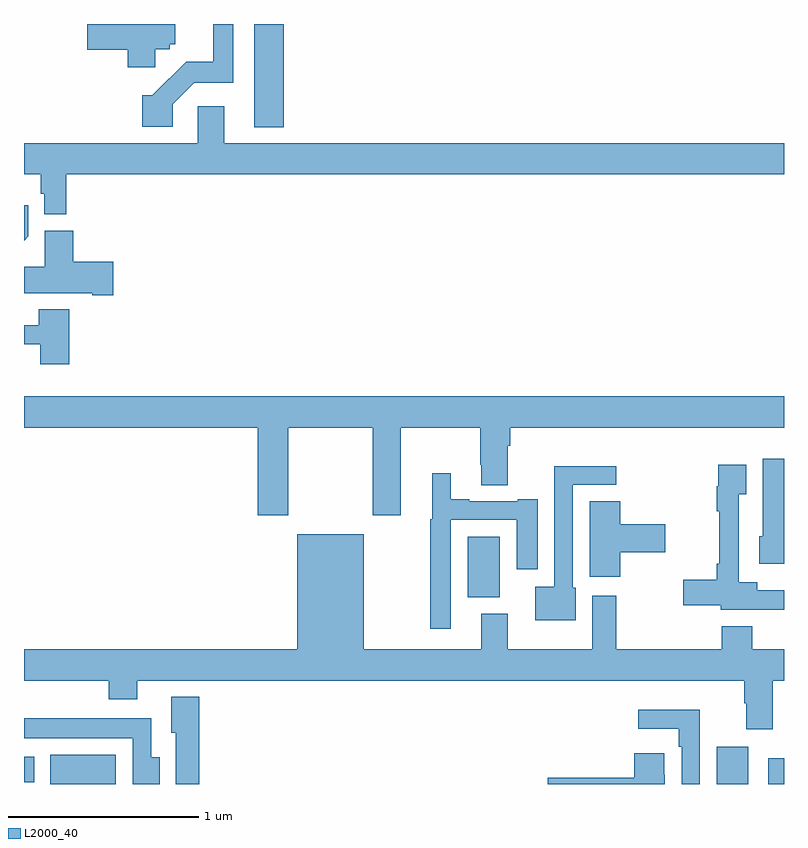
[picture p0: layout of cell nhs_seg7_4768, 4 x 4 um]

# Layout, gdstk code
import gdstk
lib = gdstk.Library(unit=1e-6, precision=1e-09)
def R(c, l, rs):  # rectangles x0, y0, x1, y1
    for r in rs: c.add(gdstk.rectangle(r[:2], r[2:], *l))
def P(c, l, *ps):  # polygons
    for p in ps: c.add(gdstk.Polygon(p, *l))
L2000_40 = (2000, 40)

nhs_seg7_4768 = lib.new_cell('nhs_seg7_4768')
R(nhs_seg7_4768, L2000_40, [(409.139,1072,409.483,1072.153), (412.646,1072,412.813,1072.195), (412.917,1072,413,1072.135), (409,1072.01,409.054,1072.144), (411.335,1072.982,411.505,1073.302), (410.213,1075.457,410.366,1076)])
P(nhs_seg7_4768, L2000_40, [(409.692,1075.866),(409.767,1075.866),(409.767,1075.893),(409.795,1075.893),(409.795,1076),(409.332,1076),(409.332,1075.865),(409.547,1075.865),(409.547,1075.772),(409.692,1075.772)],
  [(409.782,1075.578),(409.896,1075.692),(410.101,1075.692),(410.101,1076),(409.997,1076),(409.997,1075.802),(409.853,1075.802),(409.675,1075.624),(409.622,1075.624),(409.622,1075.458),(409.782,1075.458)],
  [(409.223,1075.208),(413,1075.208),(413,1075.372),(410.053,1075.372),(410.053,1075.567),(409.914,1075.567),(409.914,1075.372),(409,1075.372),(409,1075.208),(409.087,1075.208),(409.087,1075.107),(409.107,1075.107),(409.107,1074.998),(409.223,1074.998)],
  [(409.022,1074.882),(409.022,1075.045),(409,1075.045),(409,1074.86)],
  [(409.471,1074.75),(409.259,1074.75),(409.259,1074.913),(409.109,1074.913),(409.109,1074.722),(409,1074.722),(409,1074.584),(409.358,1074.584),(409.358,1074.572),(409.471,1074.572)],
  [(409.238,1074.499),(409.078,1074.499),(409.078,1074.415),(409,1074.415),(409,1074.315),(409.085,1074.315),(409.085,1074.21),(409.238,1074.21)],
  [(410.391,1073.876),(410.836,1073.876),(410.836,1073.415),(410.983,1073.415),(410.983,1073.876),(411.4,1073.876),(411.4,1073.68),(411.407,1073.68),(411.407,1073.572),(411.547,1073.572),(411.547,1073.78),(411.56,1073.78),(411.56,1073.876),(413,1073.876),(413,1074.04),(409,1074.04),(409,1073.876),(410.231,1073.876),(410.231,1073.415),(410.391,1073.415)],
  [(413,1073.713),(412.889,1073.713),(412.889,1073.304),(412.871,1073.304),(412.871,1073.16),(413,1073.16)],
  [(413,1073.02),(412.858,1073.02),(412.858,1073.062),(412.761,1073.062),(412.761,1073.524),(412.801,1073.524),(412.801,1073.68),(412.653,1073.68),(412.653,1073.567),(412.645,1073.567),(412.645,1073.435),(412.66,1073.435),(412.66,1073.158),(412.645,1073.158),(412.645,1073.075),(412.47,1073.075),(412.47,1072.94),(412.668,1072.94),(412.668,1072.917),(412.895,1072.917),(412.895,1072.916),(413,1072.916)],
  [(411.904,1073.034),(411.888,1073.034),(411.888,1073.574),(412.117,1073.574),(412.117,1073.672),(411.792,1073.672),(411.792,1073.038),(411.692,1073.038),(411.692,1072.862),(411.904,1072.862)],
  [(411.246,1073.391),(411.593,1073.391),(411.593,1073.13),(411.703,1073.13),(411.703,1073.5),(411.599,1073.5),(411.599,1073.487),(411.343,1073.487),(411.343,1073.5),(411.247,1073.5),(411.247,1073.635),(411.149,1073.635),(411.149,1073.394),(411.138,1073.394),(411.138,1072.818),(411.246,1072.818)],
  [(412.139,1073.219),(412.375,1073.219),(412.375,1073.366),(412.139,1073.366),(412.139,1073.489),(411.977,1073.489),(411.977,1073.091),(412.139,1073.091)],
  [(411.407,1072.897),(411.407,1072.708),(410.788,1072.708),(410.788,1073.314),(410.438,1073.314),(410.438,1072.708),(409,1072.708),(409,1072.544),(409.445,1072.544),(409.445,1072.445),(409.597,1072.445),(409.597,1072.544),(412.79,1072.544),(412.79,1072.424),(412.802,1072.424),(412.802,1072.287),(412.942,1072.287),(412.942,1072.544),(413,1072.544),(413,1072.708),(412.833,1072.708),(412.833,1072.831),(412.673,1072.831),(412.673,1072.708),(412.118,1072.708),(412.118,1072.99),(411.992,1072.99),(411.992,1072.708),(411.547,1072.708),(411.547,1072.897)],
  [(409.922,1072.459),(409.775,1072.459),(409.775,1072.269),(409.799,1072.269),(409.799,1072),(409.922,1072)],
  [(412.557,1072.39),(412.233,1072.39),(412.233,1072.292),(412.445,1072.292),(412.445,1072.196),(412.461,1072.196),(412.461,1072),(412.557,1072)],
  [(409.714,1072.14),(409.669,1072.14),(409.669,1072.345),(409,1072.345),(409,1072.241),(409.572,1072.241),(409.572,1072),(409.714,1072)],
  [(412.372,1072.049),(412.371,1072.049),(412.371,1072.162),(412.211,1072.162),(412.211,1072.034),(411.756,1072.034),(411.756,1072),(412.372,1072)])

lib.write_gds('nhs_seg7_4768.gds')
